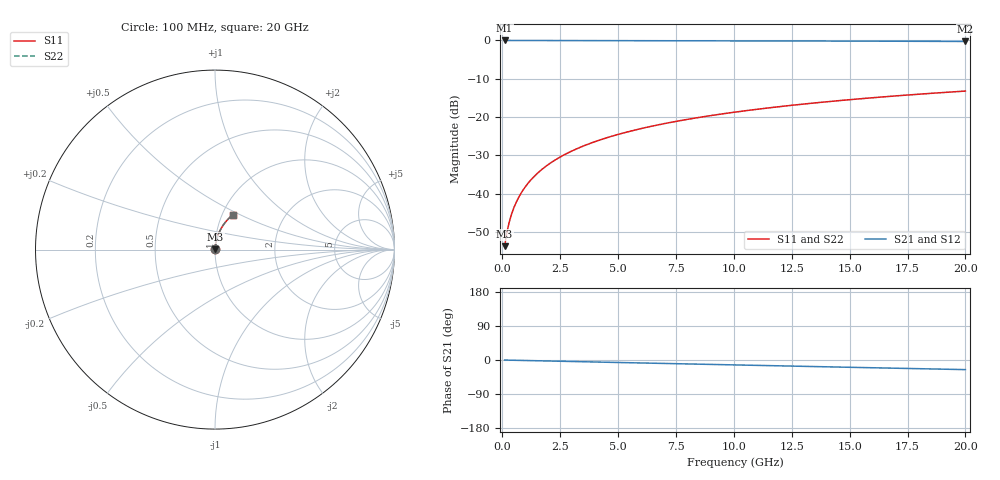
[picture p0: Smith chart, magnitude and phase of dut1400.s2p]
! Touchstone file exported from HFSS 2026.1.0
!  File:  C:/ffzhzh/LocalFiles/Ansys_Project_Files/temp_train_TMRDL_1400_1783166352_55132.aedt
!  Generated:  08:00:25 PM Jul  4, 2026
!  Design:  TMRDL
!  Project:  temp_train_TMRDL_1400_1783166352_55132
! Variables:
!  h_bsmrdl = 2um
!  h_ox = 20um
!  h_rdl = 5um
!  h_sub = 80um
!  h_tmrdl = 3.63um
!  h_tsv = 80um
!  h_via = 3um
!  l_bsmrdl = 300um
!  l_sub = 757.52um
!  l_tmrdl = 357.52um
!  m_sub = 200um
!  pitch = 48.95um
!  r_tsv = 6um
!  s_tmrdl = 10um
!  w_bsmrdl = 18um
!  w_sub = 500um
!  w_tmrdl = 26.63um
!  x_tsv_center1 = 370.835um
!  x_tsv_center2 = 688.835um
!  x_tsv_center3 = 1072.985um
!  x_tsv_center4 = 1390.985um
!  x_tsv_center5 = 1775.135um
!  x_tsv_center6 = 2093.135um
# GHz S MA R 50.000000
! Terminal data exported
! Port[1] = TM_RDL1_1_T1
! Port[2] = TM_RDL1_1_T2
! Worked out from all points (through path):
!   200 points, 100 MHz to 20 GHz, reference 50 ohm
!   highest |S21| = -0.01 dB at 100 MHz (marker M1); lowest = -0.3 dB at 20 GHz (marker M2)
!   group delay of S21, straight-line fit = 3.52 ps
!   lowest |S11| = -53.7 dB at 100 MHz (marker M3), VSWR 1.00, Z = 50.2 + j0.135 ohm
!   |S11| at or under -10 dB: start of sweep to end of sweep
!   |S22| runs from -53.7 to -13.2 dB; largest |S21 - S12| = 2.1e-15
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0.1  0.00206 41.0  0.9984 -0.1  0.9984 -0.1  0.00206 41.0
! Gamma 0 0 0 0
! Port Impedance 50 0 50 0
0.2  0.003122 57.7  0.9983 -0.3  0.9983 -0.3  0.003122 57.7
0.3  0.004258 65.2  0.9982 -0.4  0.9982 -0.4  0.004258 65.2
0.4  0.005398 69.5  0.9981 -0.5  0.9981 -0.5  0.005398 69.5
0.5  0.00654 72.4  0.9981 -0.7  0.9981 -0.7  0.00654 72.4
0.6  0.007687 74.5  0.998 -0.8  0.998 -0.8  0.007687 74.5
0.8  0.01 77.3  0.9979 -1.1  0.9979 -1.1  0.009999 77.3
1.1  0.01351 79.7  0.9978 -1.5  0.9978 -1.5  0.01351 79.7
1.3  0.01586 80.6  0.9978 -1.7  0.9978 -1.7  0.01586 80.6
1.6  0.0194 81.4  0.9976 -2.1  0.9976 -2.1  0.0194 81.4
2.1  0.02532 82.0  0.9974 -2.8  0.9974 -2.8  0.02532 82.0
2.7  0.0324 82.1  0.997 -3.6  0.997 -3.6  0.0324 82.1
3.5  0.04181 81.7  0.9964 -4.6  0.9964 -4.6  0.04181 81.7
4.2  0.04998 81.1  0.9958 -5.5  0.9958 -5.5  0.04998 81.1
5  0.05924 80.3  0.995 -6.6  0.995 -6.6  0.05924 80.3
5.9  0.06956 79.3  0.994 -7.7  0.994 -7.7  0.06956 79.3
6.8  0.07978 78.3  0.9929 -8.9  0.9929 -8.9  0.07978 78.3
8.3  0.09657 76.6  0.9909 -10.8  0.9909 -10.8  0.09657 76.6
10.1  0.1164 74.5  0.9882 -13.1  0.9882 -13.1  0.1164 74.5
13.4  0.1517 70.6  0.9826 -17.2  0.9826 -17.2  0.1517 70.6
16.7  0.1856 66.7  0.9762 -21.3  0.9762 -21.3  0.1856 66.7
20  0.2181 62.8  0.969 -25.4  0.969 -25.4  0.2181 62.8
